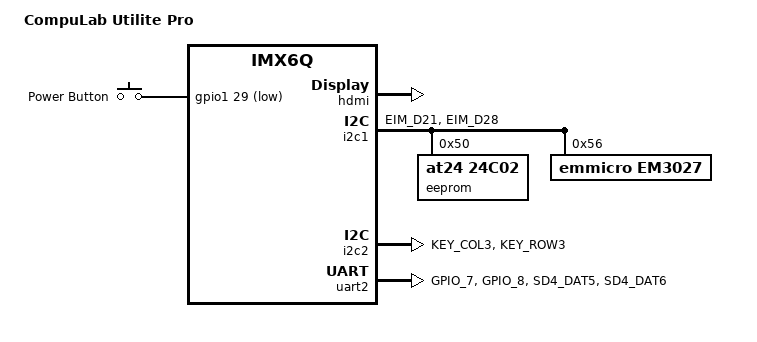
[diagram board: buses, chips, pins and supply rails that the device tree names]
/*
 * Copyright 2016 Christopher Spinrath
 * Copyright 2013 CompuLab Ltd.
 *
 * Based on the GPLv2 licensed devicetree distributed with the vendor
 * kernel for the Utilite Pro:
 *	Copyright 2013 CompuLab Ltd.
 *	Author: Valentin Raevsky <valentin@xxxxxxxxxxxxxx>
 *
 * The code contained herein is licensed under the GNU General Public
 * License. You may obtain a copy of the GNU General Public License
 * Version 2 or later at the following locations:
 *
 * http://www.opensource.org/licenses/gpl-license.html
 * http://www.gnu.org/copyleft/gpl.html
 */

#include "imx6q-cm-fx6.dts"

/ {
	model = "CompuLab Utilite Pro";
	compatible = "compulab,utilite-pro", "compulab,cm-fx6", "fsl,imx6q";

	aliases {
		ethernet1 = &eth1;
		rtc0 = &em3027;
		rtc1 = &snvs_rtc;
	};

	gpio-keys {
		compatible = "gpio-keys";
		power {
			label = "Power Button";
			gpios = <&gpio1 29 1>;
			linux,code = <116>; /* KEY_POWER */
			gpio-key,wakeup;
		};
	};
};

&hdmi {
	ddc-i2c-bus = <&i2c2>;
	status = "okay";
};

&i2c1 {
	pinctrl-names = "default";
	pinctrl-0 = <&pinctrl_i2c1>;
	status = "okay";

	eeprom@50 {
		compatible = "at24,24c02";
		reg = <0x50>;
		pagesize = <16>;
	};

	em3027: rtc@56 {
		compatible = "emmicro,em3027";
		reg = <0x56>;
	};
};

&i2c2 {
	pinctrl-names = "default";
	pinctrl-0 = <&pinctrl_i2c2>;
	status = "okay";
};

&iomuxc {
	pinctrl-names = "default";
	pinctrl-0 = <&pinctrl_hog>;

	hog {
		pinctrl_hog: hoggrp {
			fsl,pins = <
				/* power button */
				MX6QDL_PAD_ENET_TXD1__GPIO1_IO29 0x80000000
			>;
		};
	};

	imx6q-utilite-pro {
		pinctrl_i2c1: i2c1grp {
			fsl,pins = <
				MX6QDL_PAD_EIM_D21__I2C1_SCL 0x4001b8b1
				MX6QDL_PAD_EIM_D28__I2C1_SDA 0x4001b8b1
			>;
		};

		pinctrl_i2c2: i2c2grp {
			fsl,pins = <
				MX6QDL_PAD_KEY_COL3__I2C2_SCL 0x4001b8b1
				MX6QDL_PAD_KEY_ROW3__I2C2_SDA 0x4001b8b1
			>;
		};

		pinctrl_uart2: uart2grp {
			fsl,pins = <
				MX6QDL_PAD_GPIO_7__UART2_TX_DATA 0x1b0b1
				MX6QDL_PAD_GPIO_8__UART2_RX_DATA 0x1b0b1
				MX6QDL_PAD_SD4_DAT5__UART2_RTS_B 0x1b0b1
				MX6QDL_PAD_SD4_DAT6__UART2_CTS_B 0x1b0b1
			>;
		};
	};
};

&pcie {
	pcie@0,0 {
		reg = <0x000000 0 0 0 0>;
		#address-cells = <3>;
		#size-cells = <2>;

		/* non-removable i211 ethernet card */
		eth1: intel,i211@pcie0,0 {
			reg = <0x010000 0 0 0 0>;
		};
	};
};

&uart2 {
	pinctrl-names = "default";
	pinctrl-0 = <&pinctrl_uart2>;
	fsl,uart-has-rtscts;
	dma-names = "rx", "tx";
	dmas = <&sdma 27 4 0>, <&sdma 28 4 0>;
	status = "okay";
};
